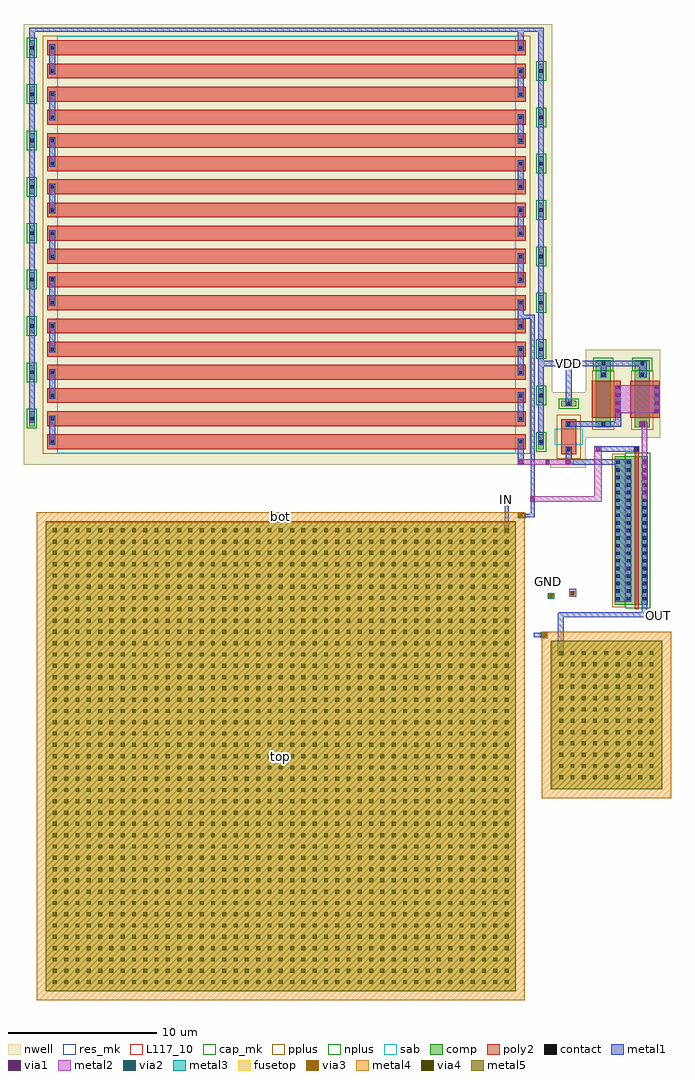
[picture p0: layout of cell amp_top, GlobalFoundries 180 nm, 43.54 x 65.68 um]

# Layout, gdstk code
from math import pi, radians
import gdstk
lib = gdstk.Library(unit=1e-6, precision=5e-09)
def R(c, l, rs):  # rectangles x0, y0, x1, y1
    for r in rs: c.add(gdstk.rectangle(r[:2], r[2:], *l))
def A(c, l, x, y, w, h, nx, ny, dx, dy):  # array of equal rectangles
    R(c, l, [(x+i*dx, y+j*dy, x+i*dx+w, y+j*dy+h) for i in range(nx) for j in range(ny)])
def P(c, l, *ps):  # polygons
    for p in ps: c.add(gdstk.Polygon(p, *l))
nwell = (21, 0)
comp = (22, 0)
poly2 = (30, 0)
pplus = (31, 0)
nplus = (32, 0)
contact = (33, 0)
metal1 = (34, 0)
via1 = (35, 0)
metal2 = (36, 0)
via2 = (38, 0)
via3 = (40, 0)
via4 = (41, 0)
metal3 = (42, 0)
metal4 = (46, 0)
sab = (49, 0)
fusetop = (75, 0)
metal5 = (81, 0)
res_mk = (110, 5)
cap_mk = (117, 5)
L117_10 = (117, 10)

cap_mim = lib.new_cell('cap_mim')
A(cap_mim, via4, 0.69, 0.58, 0.26, 0.26, 12, 9, 0.76, 0.76)
R(cap_mim, metal4, [(-0.6,-0.6,10.6,8.1)])
R(cap_mim, fusetop, [(0,0,10,7.5)])
R(cap_mim, metal5, [(0,0,10,7.5)])
R(cap_mim, cap_mk, [(-0.6,-0.6,10.6,8.1)])
R(cap_mim, L117_10, [(0,0,10,0.1)])

cap_output = lib.new_cell('cap_output')
R(cap_output, metal1, [(8.065,9.895,8.48,12.775), (8.065,9.895,8.48,12.775), (9.16,11.115,10.105,11.425), (9.16,11.115,10.105,11.425)])
R(cap_output, via1, [(9.22,11.135,9.48,11.395), (9.22,11.135,9.48,11.395)])
R(cap_output, metal2, [(9.16,11.08,9.625,11.455), (9.16,11.08,9.625,11.455)])
R(cap_output, via2, [(9.22,11.135,9.48,11.395), (9.22,11.135,9.48,11.395)])
R(cap_output, via3, [(9.22,11.135,9.48,11.395), (9.22,11.135,9.48,11.395)])
R(cap_output, metal3, [(9.16,11.08,9.625,11.455), (9.16,11.08,9.625,11.455)])
r = gdstk.Reference(cap_mim, (8.96,0.89), rotation=pi/2); r.repetition = gdstk.Repetition(1, 1, v1=(0,0), v2=(0,0)); cap_output.add(r)
r = gdstk.Reference(cap_mim, (8.96,0.89), rotation=pi/2); r.repetition = gdstk.Repetition(1, 1, v1=(0,0), v2=(0,0)); cap_output.add(r)
cap_output.add(gdstk.Label('IN_OUT', (8.26,12.705), layer=34, texttype=10))
cap_output.add(gdstk.Label('GND', (10.055,11.25), layer=34, texttype=10))
cap_output.add(gdstk.Label('IN_OUT', (8.26,12.705), layer=34, texttype=10))
cap_output.add(gdstk.Label('GND', (10.055,11.25), layer=34, texttype=10))

amp_top = lib.new_cell('amp_top')
R(amp_top, nwell, [(39.69,38.19,39.93,44.1), (39.93,38.19,42.31,44.1)])
P(amp_top, nwell, [(34.92,36.155),(34.92,36.365),(-0.49,36.365),(-0.49,66.03),(35.075,66.03),(35.075,41.25),(37.31,41.25),(37.31,44.1),(39.69,44.1),(39.69,38.19),(37.31,38.19),(37.31,36.155)])
A(amp_top, comp, 34.13, 37.41, 0.36, 1, 1, 9, 0, 3.12)
A(amp_top, comp, -0.14, 38.97, 0.36, 1, 1, 9, 0, 3.12)
R(amp_top, comp, [(39.275,26.945,39.985,36.945), (39.985,26.945,40.405,36.945), (40.405,26.945,41.065,36.945), (41.065,26.945,41.485,36.945), (38,38.88,39,39.34), (40.62,38.88,41.62,39.34), (38,39.34,39,42.22), (40.62,39.34,41.62,42.22), (35.67,40.3,36.67,40.66), (38,42.22,39,42.68), (40.62,42.22,41.62,42.68), (38,42.68,39,43.41), (40.62,42.68,41.62,43.41)])
A(amp_top, poly2, 1.08, 37.41, 32.19, 1, 1, 18, 0, 1.56)
R(amp_top, poly2, [(40.595,26.645,40.875,37.245), (35.67,37.07,36.67,39.44), (40.555,37.245,40.915,37.605), (37.7,39.53,39.3,42.03), (39.3,39.53,39.68,42.03), (40.32,39.53,41.92,42.03), (41.92,39.53,42.3,42.03)])
A(amp_top, pplus, 0.78, 37.11, 32.79, 1.6, 1, 18, 0, 1.56)
R(amp_top, pplus, [(39.105,26.775,39.985,37.115), (35.37,36.77,36.97,39.74), (37.76,38.71,39.24,42.68), (40.38,38.71,41.86,42.68)])
A(amp_top, nplus, 33.97, 37.25, 0.68, 1.32, 1, 9, 0, 3.12)
A(amp_top, nplus, -0.3, 38.81, 0.68, 1.32, 1, 9, 0, 3.12)
R(amp_top, nplus, [(39.985,26.705,41.655,37.185), (35.51,40.14,36.83,40.82), (37.83,42.68,39.17,43.58), (40.45,42.68,41.79,43.58)])
A(amp_top, contact, 39.375, 27.245, 0.22, 0.22, 1, 19, 0, 0.51)
A(amp_top, contact, 40.085, 27.245, 0.22, 0.22, 1, 19, 0, 0.51)
A(amp_top, contact, 41.165, 27.245, 0.22, 0.22, 1, 19, 0, 0.51)
A(amp_top, contact, 1.3, 37.8, 0.22, 0.22, 1, 18, 0, 1.56)
A(amp_top, contact, 32.83, 37.8, 0.22, 0.22, 1, 18, 0, 1.56)
A(amp_top, contact, 34.2, 37.8, 0.22, 0.22, 1, 9, 0, 3.12)
A(amp_top, contact, -0.07, 39.36, 0.22, 0.22, 1, 9, 0, 3.12)
A(amp_top, contact, 39.38, 39.905, 0.22, 0.22, 1, 4, 0, 0.51)
A(amp_top, contact, 42, 39.905, 0.22, 0.22, 1, 4, 0, 0.51)
R(amp_top, contact, [(36.06,37.29,36.28,37.51), (40.625,37.315,40.845,37.535), (36.06,39,36.28,39.22), (38.39,39,38.61,39.22), (41.01,39,41.23,39.22), (36.06,40.37,36.28,40.59), (38.39,42.34,38.61,42.56), (41.01,42.34,41.23,42.56), (38.39,43.07,38.61,43.29), (41.01,43.07,41.23,43.29)])
A(amp_top, metal1, 1.22, 37.72, 0.38, 0.38, 1, 18, 0, 1.56)
A(amp_top, metal1, 32.75, 37.72, 0.38, 0.38, 1, 18, 0, 1.56)
A(amp_top, metal1, 34.12, 37.72, 0.38, 0.38, 1, 9, 0, 3.12)
A(amp_top, metal1, -0.15, 39.28, 0.38, 0.38, 1, 9, 0, 3.12)
A(amp_top, metal1, 1.22, 41.22, 0.38, 1.18, 1, 7, 0, 3.12)
A(amp_top, metal1, 32.75, 52.14, 0.38, 1.18, 1, 3, 0, 3.12)
R(amp_top, metal1, [(39.295,27.165,39.675,36.725), (40.005,27.165,40.385,36.725), (31.86,31.77,32.12,31.83), (31.86,31.83,32.12,32.09), (32.75,32.82,32.81,33.08), (32.81,32.82,32.84,33.08), (32.75,36.365,33.13,37.72), (34.12,37.705,34.5,37.72), (1.22,37.71,1.6,37.72), (1.22,38.05,1.6,39.305), (34.12,38.075,34.24,53.32), (32.75,38.1,33.13,38.12), (35.98,38.92,38.31,39.3), (38.31,38.92,38.69,39.3), (40.93,38.92,41.31,39.3), (38.69,38.925,39.69,39.3), (-0.15,39.245,0.23,39.28), (32.75,39.255,33.13,39.28), (-0.15,39.28,0.23,63.395), (39.3,39.3,39.69,39.825), (32.75,39.565,33.13,40.865), (1.22,39.66,1.6,39.67), (39.3,39.825,39.68,41.735), (41.92,39.825,42.3,41.735), (1.22,40.825,1.6,40.84), (32.75,41.22,33.13,41.235), (38.31,42.26,38.69,42.64), (40.93,42.26,41.31,42.64), (41.31,42.26,41.405,43.37), (32.75,42.385,33.13,42.4), (38.31,42.635,38.69,42.99), (40.93,42.64,41.31,42.99), (32.75,42.725,33.13,43.96), (1.22,42.78,1.6,42.795), (38.31,42.99,38.69,43.37), (38.69,42.99,40.93,43.37), (40.93,42.99,41.31,43.37), (1.22,43.945,1.6,43.96), (32.75,44.34,33.13,44.355), (32.75,45.5,33.13,45.52), (32.75,45.82,33.13,47.12), (1.22,45.9,1.6,45.915), (1.22,47.065,1.6,47.08), (32.75,47.46,33.13,47.48), (32.75,48.62,33.13,48.64), (32.75,48.915,33.13,50.2), (1.22,49.02,1.6,49.03), (1.22,50.18,1.6,50.2), (32.75,50.58,33.13,50.595), (32.75,51.74,33.13,51.76), (1.22,52.14,1.6,52.16), (1.22,53.305,1.6,53.32), (32.75,53.7,33.13,53.72), (34.12,53.7,34.24,56.44), (32.75,54.865,33.13,54.88), (1.22,55.26,1.6,55.275), (1.22,56.425,1.6,56.44), (32.75,56.82,33.13,56.845), (34.12,56.82,34.24,59.56), (32.75,57.98,33.13,58), (33.02,58.18,33.07,58.44), (1.22,58.38,1.6,58.4), (1.22,59.545,1.6,59.56), (32.75,59.94,33.13,59.965), (34.12,59.94,34.5,62.63), (32.75,61.11,33.13,61.12), (32.75,61.12,33.13,63.06), (1.22,61.5,1.6,61.515), (34.12,62.63,34.5,65.785), (1.22,62.645,1.6,62.68), (1.22,62.68,1.6,64.655), (32.75,63.06,33.13,63.075), (-0.15,63.395,0.23,65.785), (32.75,64.22,33.13,64.24), (32.75,64.24,33.13,65.655)])
P(amp_top, metal1, [(35.94,26.115),(35.94,26.125),(35.525,26.125),(35.525,26.445),(41.085,26.445),(41.085,36.725),(41.465,36.725),(41.465,26.445),(42.905,26.445),(42.905,26.115)],
  [(31.86,32.09),(31.86,34.26),(32.12,34.26),(32.12,33.875),(32.12,32.09)],
  [(32.84,32.82),(32.84,33.08),(33.62,33.08),(33.62,33.875),(33.575,33.875),(33.575,34.26),(33.62,34.26),(33.62,34.35),(33.88,34.35),(33.88,32.82)],
  [(34.24,37.725),(34.24,59.945),(34.5,59.945),(34.5,43.37),(38.31,43.37),(38.31,42.99),(36.36,42.99),(36.36,40.29),(35.98,40.29),(35.98,42.99),(34.5,42.99),(34.5,37.725)],
  [(37.895,37.235),(37.895,37.615),(40.925,37.615),(40.925,37.235),(40.545,37.235)],
  [(39.675,27.165),(39.675,36.365),(35.98,36.365),(35.98,37.59),(36.36,37.59),(36.36,36.725),(40.005,36.725),(40.005,27.165)],
  [(34.12,59.56),(34.12,59.56),(34.24,59.56),(34.24,59.56)],
  [(34.12,59.56),(34.12,59.56),(34.24,59.56),(34.24,59.56)],
  [(32.75,51.76),(32.75,51.76),(33.13,51.76),(33.13,51.76)],
  [(32.75,64.24),(32.75,64.24),(33.13,64.24),(33.13,64.24)],
  [(7.845,63.03),(7.845,63.03),(7.845,63.03),(7.845,63.03)])
A(amp_top, via1, 39.36, 40.395, 0.26, 0.26, 1, 3, 0, 0.52)
A(amp_top, via1, 41.98, 40.395, 0.26, 0.26, 1, 3, 0, 0.52)
R(amp_top, via1, [(34.82,27.405,35.08,27.665), (34.82,27.405,35.08,27.665), (36.295,27.6,36.555,27.86), (31.86,31.83,32.12,32.09), (32.81,32.82,33.07,33.08), (33.595,33.925,33.855,34.185), (41.165,35.365,41.425,35.625), (41.165,35.87,41.42,36.135), (41.145,36.405,41.405,36.665), (32.81,36.415,33.07,36.675), (34.61,36.425,34.87,36.685), (36.005,36.425,36.265,36.685), (38.015,37.3,38.275,37.56), (40.99,38.98,41.25,39.24), (41.01,39,41.23,39.22), (39.36,39.865,39.62,40.125), (41.98,39.865,42.24,40.125), (41.98,41.435,42.24,41.695)])
P(amp_top, via1, [(32.895,33.06),(32.895,33.06),(32.895,33.06),(32.895,33.06)])
R(amp_top, metal2, [(34.74,27.35,35.205,27.725), (34.74,27.35,35.205,27.725), (36.195,27.475,36.67,28.035), (31.82,31.77,32.16,32.305), (32.75,32.78,33.285,32.82), (32.75,32.82,33.285,33.08), (32.75,33.08,33.285,33.12), (41.085,34.06,41.465,39.3), (32.75,36.365,36.52,36.725), (40.93,38.92,41.385,39.3), (39.3,39.825,42.3,41.735)])
P(amp_top, metal2, [(33.575,33.875),(33.575,34.26),(37.895,34.26),(37.895,37.585),(38.405,37.585),(38.405,33.875)])
R(amp_top, via2, [(34.82,27.405,35.08,27.665), (34.82,27.405,35.08,27.665), (32.81,32.82,33.07,33.08)])
R(amp_top, via3, [(34.82,27.405,35.08,27.665), (34.82,27.405,35.08,27.665), (32.81,32.82,33.07,33.08)])
A(amp_top, via4, 1.46, 1.43, 0.26, 0.26, 41, 41, 0.76, 0.76)
R(amp_top, via4, [(36.295,27.6,36.555,27.86), (36.295,27.6,36.555,27.86)])
R(amp_top, metal3, [(34.74,27.35,35.205,27.725), (34.74,27.35,35.205,27.725), (32.75,32.78,33.285,33.12)])
R(amp_top, metal4, [(0.38,0.35,33.2,33.17)])
A(amp_top, sab, 1.74, 37.13, 30.87, 1.56, 1, 18, 0, 1.56)
R(amp_top, sab, [(35.215,37.73,37.125,38.78)])
R(amp_top, fusetop, [(0.98,0.95,32.6,32.57)])
R(amp_top, metal5, [(0.98,0.95,32.6,32.57)])
A(amp_top, res_mk, 1.74, 37.41, 30.87, 1, 1, 18, 0, 1.56)
R(amp_top, res_mk, [(35.67,37.73,36.67,38.78)])
R(amp_top, cap_mk, [(0.38,0.35,33.2,33.17)])
R(amp_top, L117_10, [(0.98,32.47,32.6,32.57)])
amp_top.add(gdstk.FlexPath([(32.94,37.72),(32.94,36.365)], 0.26, ends="flush", simple_path=True, layer=34, datatype=0))  # metal1
amp_top.add(gdstk.FlexPath([(34.37,64.465),(34.37,65.655),(0.1,65.655),(0.1,65.625),(0.1,65.625)], 0.26, ends="flush", simple_path=True, layer=34, datatype=0))  # metal1
amp_top.add(gdstk.FlexPath([(1.41,39.355),(1.41,37.905)], 0.26, ends="flush", simple_path=True, layer=34, datatype=0))  # metal1
amp_top.add(gdstk.FlexPath([(1.41,42.4),(1.41,41.14)], 0.26, ends="flush", simple_path=True, layer=34, datatype=0))  # metal1
amp_top.add(gdstk.FlexPath([(1.41,45.52),(1.41,44.15)], 0.26, ends="flush", simple_path=True, layer=34, datatype=0))  # metal1
amp_top.add(gdstk.FlexPath([(1.41,48.64),(1.41,47.27)], 0.26, ends="flush", simple_path=True, layer=34, datatype=0))  # metal1
amp_top.add(gdstk.FlexPath([(1.41,51.76),(1.41,50.5)], 0.26, ends="flush", simple_path=True, layer=34, datatype=0))  # metal1
amp_top.add(gdstk.FlexPath([(1.41,54.88),(1.41,53.62)], 0.26, ends="flush", simple_path=True, layer=34, datatype=0))  # metal1
amp_top.add(gdstk.FlexPath([(1.41,58),(1.41,56.63),(1.41,56.63)], 0.26, ends="flush", simple_path=True, layer=34, datatype=0))  # metal1
amp_top.add(gdstk.FlexPath([(1.41,61.12),(1.41,59.86),(1.41,59.86)], 0.26, ends="flush", simple_path=True, layer=34, datatype=0))  # metal1
amp_top.add(gdstk.FlexPath([(32.94,59.57),(32.94,58.31),(33.05,58.31)], 0.26, ends="flush", simple_path=True, layer=34, datatype=0))  # metal1
amp_top.add(gdstk.FlexPath([(32.94,56.44),(32.94,55.07),(32.94,55.07)], 0.26, ends="flush", simple_path=True, layer=34, datatype=0))  # metal1
amp_top.add(gdstk.FlexPath([(32.94,53.32),(32.94,51.95)], 0.26, ends="flush", simple_path=True, layer=34, datatype=0))  # metal1
amp_top.add(gdstk.FlexPath([(32.94,50.2),(32.94,48.72)], 0.26, ends="flush", simple_path=True, layer=34, datatype=0))  # metal1
amp_top.add(gdstk.FlexPath([(32.94,47.16),(32.94,45.71)], 0.26, ends="flush", simple_path=True, layer=34, datatype=0))  # metal1
amp_top.add(gdstk.FlexPath([(33.04,46.33),(33.75,46.33),(33.75,34.35),(33.75,34.35)], 0.26, ends="flush", simple_path=True, layer=34, datatype=0))  # metal1
amp_top.add(gdstk.FlexPath([(32.94,43.96),(32.94,42.59)], 0.26, ends="flush", simple_path=True, layer=34, datatype=0))  # metal1
amp_top.add(gdstk.FlexPath([(32.94,40.92),(32.94,39.47)], 0.26, ends="flush", simple_path=True, layer=34, datatype=0))  # metal1
amp_top.add(gdstk.Reference(cap_output, (43.91,13.63), rotation=pi, x_reflection=True))
amp_top.add(gdstk.Label('GND', (34.79,28.52), layer=34, texttype=10))
amp_top.add(gdstk.Label('OUT', (42.215,26.215), layer=34, texttype=10))
amp_top.add(gdstk.Label('VDD', (36.18,43.15), layer=34, texttype=10))
amp_top.add(gdstk.Label('IN', (31.955,34.055), layer=34, texttype=10))
amp_top.add(gdstk.Label('IN_OUT', (36.075,28.14), layer=81, texttype=10))
amp_top.add(gdstk.Label('top', (16.79,16.76), layer=81, texttype=10))
amp_top.add(gdstk.Label('bot', (16.79,32.87), layer=46, texttype=10))

lib.write_gds('amp_top.gds')
